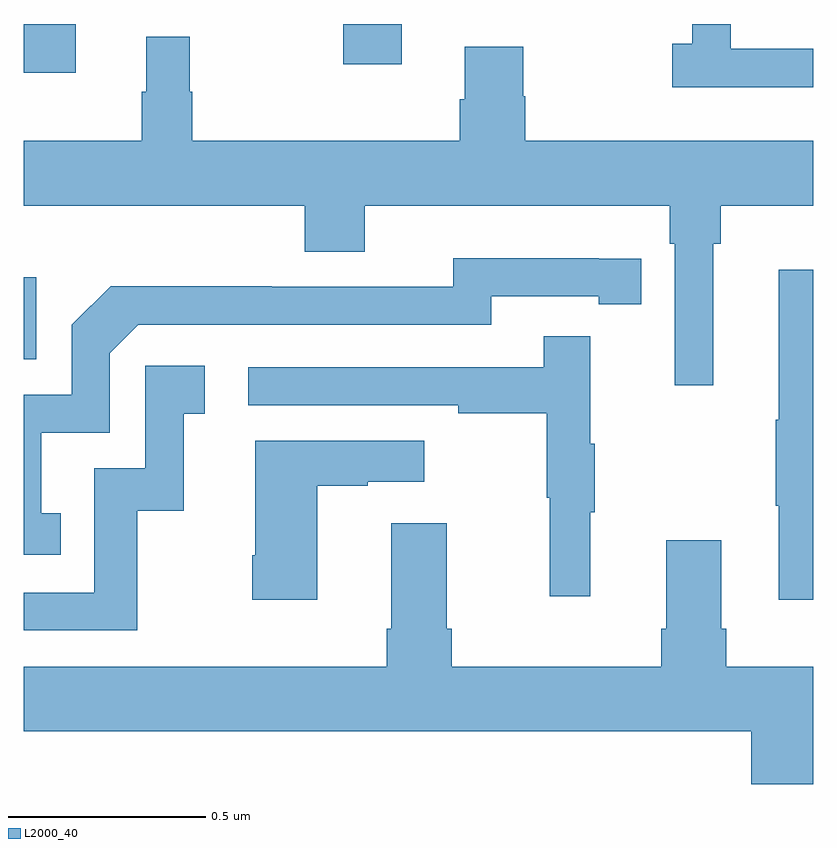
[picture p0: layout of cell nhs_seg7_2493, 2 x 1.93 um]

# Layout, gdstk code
import gdstk
lib = gdstk.Library(unit=1e-6, precision=1e-09)
def R(c, l, rs):  # rectangles x0, y0, x1, y1
    for r in rs: c.add(gdstk.rectangle(r[:2], r[2:], *l))
def P(c, l, *ps):  # polygons
    for p in ps: c.add(gdstk.Polygon(p, *l))
L2000_40 = (2000, 40)

nhs_seg7_2493 = lib.new_cell('nhs_seg7_2493')
R(nhs_seg7_2493, L2000_40, [(145,1076.151,145.032,1076.359), (145,1076.876,145.132,1077), (145.809,1076.898,145.957,1077)])
P(nhs_seg7_2493, L2000_40, [(147,1076.937),(146.791,1076.937),(146.791,1077),(146.694,1077),(146.694,1076.95),(146.643,1076.95),(146.643,1076.84),(147,1076.84)],
  [(146.746,1076.444),(146.765,1076.444),(146.765,1076.54),(147,1076.54),(147,1076.704),(146.27,1076.704),(146.27,1076.817),(146.265,1076.817),(146.265,1076.942),(146.117,1076.942),(146.117,1076.81),(146.105,1076.81),(146.105,1076.704),(145.427,1076.704),(145.427,1076.828),(145.42,1076.828),(145.42,1076.968),(145.31,1076.968),(145.31,1076.828),(145.299,1076.828),(145.299,1076.704),(145,1076.704),(145,1076.54),(145.712,1076.54),(145.712,1076.423),(145.864,1076.423),(145.864,1076.54),(146.636,1076.54),(146.636,1076.444),(146.649,1076.444),(146.649,1076.085),(146.746,1076.085)],
  [(145.094,1075.761),(145.045,1075.761),(145.045,1075.965),(145.218,1075.965),(145.218,1076.166),(145.29,1076.238),(146.184,1076.238),(146.184,1076.31),(146.456,1076.31),(146.456,1076.29),(146.564,1076.29),(146.564,1076.406),(146.456,1076.406),(146.456,1076.407),(146.088,1076.407),(146.088,1076.334),(145.628,1076.334),(145.628,1076.336),(145.22,1076.336),(145.122,1076.238),(145.122,1076.061),(145,1076.061),(145,1075.656),(145.094,1075.656)],
  [(147,1076.377),(146.912,1076.377),(146.912,1075.997),(146.905,1075.997),(146.905,1075.78),(146.912,1075.78),(146.912,1075.542),(147,1075.542)],
  [(146.435,1075.763),(146.446,1075.763),(146.446,1075.937),(146.435,1075.937),(146.435,1076.209),(146.317,1076.209),(146.317,1076.13),(145.569,1076.13),(145.569,1076.034),(146.101,1076.034),(146.101,1076.014),(146.325,1076.014),(146.325,1075.8),(146.332,1075.8),(146.332,1075.551),(146.435,1075.551)],
  [(145.288,1075.767),(145.406,1075.767),(145.406,1076.013),(145.459,1076.013),(145.459,1076.134),(145.308,1076.134),(145.308,1075.875),(145.179,1075.875),(145.179,1075.56),(145,1075.56),(145,1075.464),(145.288,1075.464)],
  [(145.744,1075.831),(145.871,1075.831),(145.871,1075.841),(146.014,1075.841),(146.014,1075.945),(145.586,1075.945),(145.586,1075.654),(145.579,1075.654),(145.579,1075.542),(145.744,1075.542)],
  [(147,1075.372),(146.78,1075.372),(146.78,1075.468),(146.767,1075.468),(146.767,1075.693),(146.627,1075.693),(146.627,1075.468),(146.615,1075.468),(146.615,1075.372),(146.084,1075.372),(146.084,1075.468),(146.071,1075.468),(146.071,1075.735),(145.931,1075.735),(145.931,1075.468),(145.919,1075.468),(145.919,1075.372),(145,1075.372),(145,1075.208),(146.843,1075.208),(146.843,1075.075),(147,1075.075)])

lib.write_gds('nhs_seg7_2493.gds')
